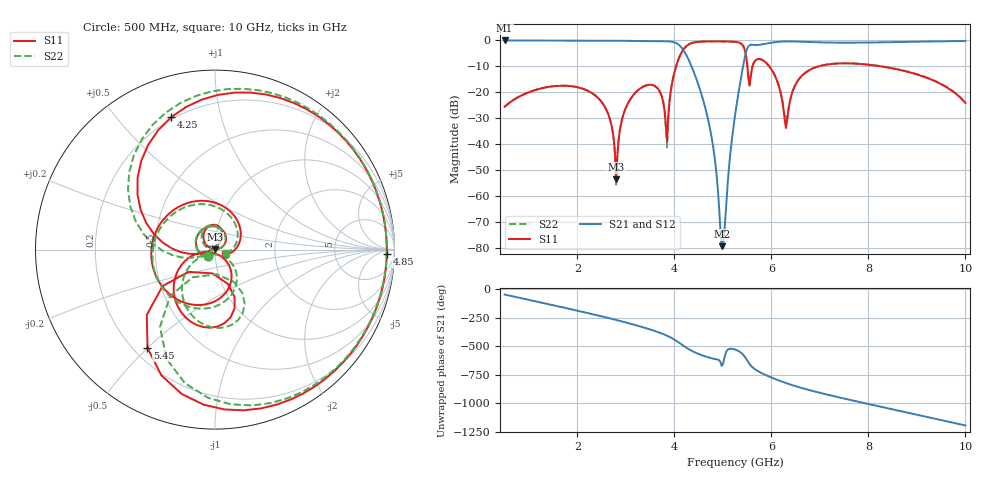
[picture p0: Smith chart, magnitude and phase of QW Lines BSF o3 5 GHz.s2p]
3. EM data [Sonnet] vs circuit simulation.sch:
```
<Qucs Schematic 24.2.0>
<Properties>
  <View=-212,-297,3228,1724,0.474158,75,0>
  <Grid=10,10,1>
  <DataSet=3. EM data [Sonnet] vs circuit simulation.dat>
  <DataDisplay=3. EM data [Sonnet] vs circuit simulation.dpl>
  <OpenDisplay=0>
  <Script=1. Ideal Transmission Lines.m>
  <RunScript=0>
  <showFrame=3>
  <FrameText0=QW Lines BSF 5 GHz>
  <FrameText1=Drawn By: Andrés Martínez Mera>
  <FrameText2=Date: 01/04/24>
  <FrameText3=Revision:>
</Properties>
<Symbol>
</Symbol>
<Components>
  <SUBST RO4003C 1 270 830 -30 24 0 0 "3.55" 1 "508um" 1 "32um" 1 "0" 1 "1e-10" 1 "0" 1>
  <.SP SP1 1 70 790 0 67 0 0 "lin" 1 "0.5GHz" 1 "10GHz" 1 "300" 1 "no" 0 "1" 0 "2" 0 "no" 0 "no" 0>
  <Pac P1 1 90 670 18 -26 0 1 "1" 1 "50 Ohm" 1 "0 dBm" 0 "1 GHz" 0 "26.85" 0 "true" 0>
  <GND * 1 90 700 0 0 0 0>
  <MLIN MS1 1 150 520 -26 15 0 0 "RO4003C" 0 "W0" 1 "L4" 1 "Hammerstad" 0 "Kirschning" 0 "26.85" 0>
  <MLIN MS3 1 300 520 -26 15 0 0 "RO4003C" 0 "W0" 1 "L4" 1 "Hammerstad" 0 "Kirschning" 0 "26.85" 0>
  <MLIN MS5 1 440 520 -26 15 0 0 "RO4003C" 0 "W0" 1 "L4" 1 "Hammerstad" 0 "Kirschning" 0 "26.85" 0>
  <MLIN MS2 1 230 430 -64 -26 0 3 "RO4003C" 0 "W1" 1 "L4" 1 "Hammerstad" 0 "Kirschning" 0 "26.85" 0>
  <MLIN MS4 1 370 430 -63 -26 0 3 "RO4003C" 0 "W2" 1 "L4" 1 "Hammerstad" 0 "Kirschning" 0 "26.85" 0>
  <MLIN MS6 1 510 430 20 -26 0 1 "RO4003C" 0 "W1" 1 "L4" 1 "Hammerstad" 0 "Kirschning" 0 "26.85" 0>
  <Pac P2 1 660 670 18 -26 0 1 "2" 1 "50 Ohm" 1 "0 dBm" 0 "1 GHz" 0 "26.85" 0 "true" 0>
  <GND * 1 660 700 0 0 0 0>
  <MLIN MS7 1 580 520 -26 15 0 0 "RO4003C" 0 "W0" 1 "L4" 1 "Hammerstad" 0 "Kirschning" 0 "26.85" 0>
  <MTEE MS8 1 230 520 -26 34 0 2 "RO4003C" 0 "W0" 1 "W0" 1 "W1" 1 "Hammerstad" 0 "Kirschning" 0 "26.85" 0 "showNumbers" 0>
  <MTEE MS9 1 510 520 -26 34 0 2 "RO4003C" 0 "W0" 1 "W0" 1 "W1" 1 "Hammerstad" 0 "Kirschning" 0 "26.85" 0 "showNumbers" 0>
  <MTEE MS10 1 370 520 -26 15 0 2 "RO4003C" 0 "W0" 1 "W0" 1 "W2" 1 "Hammerstad" 0 "Kirschning" 0 "26.85" 0 "showNumbers" 0>
  <MOPEN MS12 1 510 370 15 -12 0 1 "RO4003C" 0 "W1" 1 "Hammerstad" 0 "Kirschning" 0 "Kirschning" 0>
  <MOPEN MS13 1 370 370 15 -12 0 1 "RO4003C" 0 "W2" 1 "Hammerstad" 0 "Kirschning" 0 "Kirschning" 0>
  <MOPEN MS11 1 230 370 15 -12 0 1 "RO4003C" 0 "W1" 1 "Hammerstad" 0 "Kirschning" 0 "Kirschning" 0>
  <Eqn Eqn1 1 450 890 -28 15 0 0 "S21_dB_MS=dB(S[2,1])" 1 "S11_dB_MS=dB(S[1,1])" 1 "yes" 0>
  <Eqn Eqn4 1 690 820 -31 16 0 0 "W0=1.1m" 1 "L4=9.5m" 1 "W1=100u" 1 "W2=270u" 1 "yes" 0>
  <Pac P4 1 350 160 18 -26 0 1 "4" 1 "50 Ohm" 1 "0 dBm" 0 "1 GHz" 0 "26.85" 0 "true" 0>
  <GND * 1 350 190 0 0 0 0>
  <Pac P3 1 140 160 18 -26 0 1 "3" 1 "50 Ohm" 1 "0 dBm" 0 "1 GHz" 0 "26.85" 0 "true" 0>
  <GND * 1 140 190 0 0 0 0>
  <GND * 1 250 120 0 0 0 0>
  <SPfile X1 1 250 90 -26 -57 0 0 "QW Lines BSF o3 5 GHz.s2p" 1 "rectangular" 0 "linear" 0 "open" 0 "2" 0>
  <Eqn Eqn3 1 500 110 -28 15 0 0 "S21_dB_Sonnet=dB(S[4,3])" 1 "S11_dB_Sonnet=dB(S[3,3])" 1 "yes" 0>
</Components>
<Wires>
  <230 460 230 490 "" 0 0 0 "">
  <370 460 370 490 "" 0 0 0 "">
  <180 520 200 520 "" 0 0 0 "">
  <90 520 90 640 "" 0 0 0 "">
  <90 520 120 520 "" 0 0 0 "">
  <330 520 340 520 "" 0 0 0 "">
  <470 520 480 520 "" 0 0 0 "">
  <510 460 510 490 "" 0 0 0 "">
  <660 520 660 640 "" 0 0 0 "">
  <610 520 660 520 "" 0 0 0 "">
  <260 520 270 520 "" 0 0 0 "">
  <540 520 550 520 "" 0 0 0 "">
  <400 520 410 520 "" 0 0 0 "">
  <350 90 350 130 "" 0 0 0 "">
  <280 90 350 90 "" 0 0 0 "">
  <140 90 140 130 "" 0 0 0 "">
  <140 90 220 90 "" 0 0 0 "">
</Wires>
<Diagrams>
  <Rect 856 532 510 352 3 #c0c0c0 1 00 1 5e+08 1e+09 1e+10 0 -50 5 0 1 -1 0.5 1 315 0 225 1 0 0 "" "" "">
	<"S11_dB_MS" #0000ff 0 3 0 0 0>
	<"S21_dB_MS" #ff0000 0 3 0 0 0>
	<"S21_dB_Sonnet" #ff0000 2 3 0 2 0>
	<"S11_dB_Sonnet" #0000ff 2 3 0 2 0>
  </Rect>
</Diagrams>
<Paintings>
  <Text 420 790 12 #000000 0 "Quarter wave bandpass filter \n Chebyshev 4GHz...6GHz \n Impedance matching 50 Ohm">
  <Text 1270 440 12 #000000 0 "Sonnet">
  <Line 1260 450 -40 0 #000000 2 2>
  <Text 1270 470 12 #000000 0 "Qucs-S">
  <Line 1260 480 -40 0 #000000 2 1>
</Paintings>
```
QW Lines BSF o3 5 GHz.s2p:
! Sonnet Data File
! From: sonnet Version : 18.53-Lite
! From Emgraph Data:
! Data File Written: 03/31/2024 16:27:45
!< HDATE 03/31/2024 16:20:50
!< MDATE 03/31/2024 16:20:50
!< PARAMS
!< W0 = 1.1
!< L4 = 10.5
!< W1 = 0.1
!< W2 = 0.27
!< END PARAMS
# GHZ S MA R 50.00000
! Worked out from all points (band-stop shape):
!   381 points, 500 MHz to 10 GHz, reference 50 ohm
!   highest |S21| = -0.04 dB at 500 MHz (marker M1); lowest = -79.4 dB at 4.975 GHz (marker M2)
!   |S21| within 3 dB of the highest: start of sweep to 4.158 GHz; 5.505 GHz to end of sweep
!   lowest |S11| = -53.7 dB at 2.8 GHz (marker M3), VSWR 1.00, Z = 50 + j0.203 ohm
!   |S11| at or under -10 dB: start of sweep to 4.036 GHz; 5.956 GHz to 6.98 GHz (1.024 GHz wide, 15.8 % of centre); 8.243 GHz to end of sweep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
!   |S22| runs from -56.3 to -0.4 dB; largest |S21 - S12| = 1.2e-13
!   S11 on the Smith chart (normalised r, x): 500 MHz: 0.93, -0.07; 4.25 GHz: 0.19, +0.71; 4.85 GHz: 35, -20; 5.45 GHz: 0.25, -0.50; 10 GHz: 1.12, -0.06
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0.5  0.05214 -135.8  0.9952 -46.6  0.9952 -46.6  0.05218 -134.3
2.325  0.09268 48.5  0.981 140.1  0.981 140.1  0.09259 51.8
2.8  0.002077 77.8  0.9818 90.7  0.9818 90.7  0.001536 -81.4
4.25  0.7769 108.3  0.5132 -153.2  0.5132 -153.2  0.7772 116.5
4.85  0.9576 -1.4  0.003845 107.2  0.003845 107.2  0.9573 7.5
4.975  0.9566 -19.0  0.0001067 48.3  0.0001067 48.3  0.9562 -9.9
5.25  0.9357 -63.2  0.03533 -168.3  0.03533 -168.3  0.9358 -53.5
5.45  0.6643 -124.5  0.4613 129.3  0.4613 129.3  0.6663 -113.9
6.3  0.0203 -106.2  0.9527 -102.4  0.9527 -102.4  0.0273 -97.2
7.825  0.3506 173.3  0.9041 90.3  0.9041 90.3  0.3525 -170.4
10  0.06193 -25.2  0.9674 -114.2  0.9674 -114.2  0.0614 -16.2
